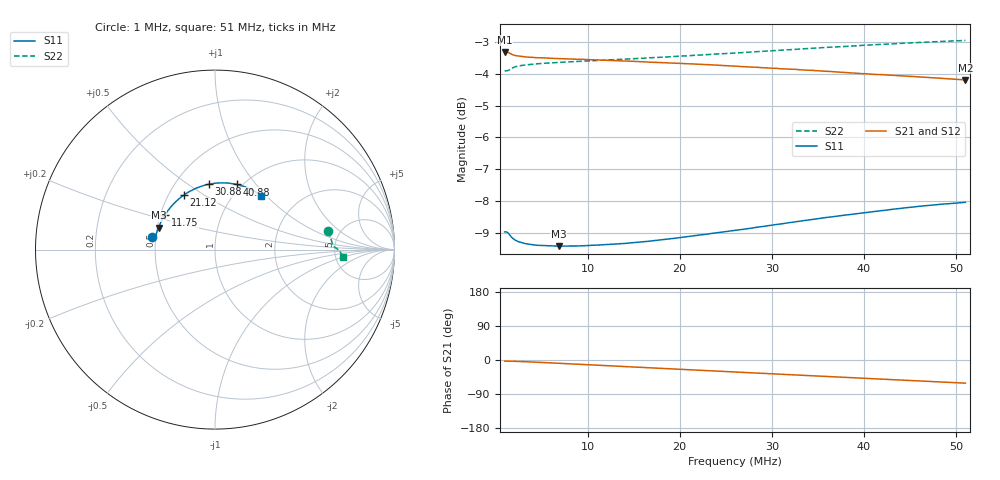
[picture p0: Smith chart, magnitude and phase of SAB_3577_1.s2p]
# MHz S RI R 50
! S-Parameters data
! Freq  reS11  imS11  reS21  imS21  reS12  imS12  reS22  imS22
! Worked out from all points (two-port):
!   401 points, 1 MHz to 51 MHz, reference 50 ohm
!   highest |S21| = -3.30 dB at 1 MHz (marker M1); lowest = -4.2 dB at 51 MHz (marker M2)
!   |S21| within 3 dB of the highest: start of sweep to end of sweep
!   lowest |S11| = -9.4 dB at 6.875 MHz (marker M3), VSWR 2.02, Z = 25.4 + j7.05 ohm
!   |S11| at or under -10 dB: nowhere
!   |S22| runs from -3.9 to -2.9 dB; largest |S21 - S12| = 0.0026
!   S11 on the Smith chart (normalised r, x): 1 MHz: 0.48, +0.07; 11.75 MHz: 0.53, +0.23; 21.12 MHz: 0.60, +0.41; 30.88 MHz: 0.72, +0.61; 40.88 MHz: 0.94, +0.80; 51 MHz: 1.32, +0.94
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1  -0.349 0.0682  0.683 -0.0358  0.6829 -0.0356  0.6302 0.1022
1.375  -0.3478 0.0672  0.6817 -0.036  0.6817 -0.0359  0.6318 0.0978
1.875  -0.3417 0.0632  0.6759 -0.0385  0.6759 -0.0384  0.6414 0.0729
2.25  -0.3386 0.0637  0.6733 -0.0416  0.6738 -0.0415  0.6457 0.0604
3.125  -0.3337 0.0709  0.6701 -0.0511  0.6699 -0.051  0.6505 0.0439
4.625  -0.3265 0.09  0.666 -0.0701  0.6658 -0.0701  0.6545 0.0312
6.875  -0.3144 0.1229  0.66 -0.1003  0.6599 -0.1005  0.658 0.023
9.375  -0.2979 0.1599  0.6522 -0.1344  0.6516 -0.1346  0.661 0.0186
11.75  -0.2786 0.1936  0.6425 -0.1664  0.6421 -0.1666  0.6636 0.0159
14.625  -0.251 0.2317  0.6288 -0.2042  0.628 -0.2043  0.6668 0.0135
17.75  -0.2162 0.269  0.6112 -0.2441  0.6101 -0.2441  0.6705 0.0112
21.125  -0.174 0.3037  0.5895 -0.2856  0.5881 -0.2852  0.6747 0.00859
23.5  -0.1418 0.3239  0.5725 -0.3131  0.5711 -0.3128  0.6782 0.00637
26  -0.1062 0.3415  0.5529 -0.3409  0.5516 -0.3404  0.6811 0.00409
28.5  -0.069 0.3553  0.5319 -0.3677  0.5302 -0.3668  0.6848 0.00113
30.875  -0.0328 0.3643  0.5107 -0.3915  0.509 -0.3906  0.6882 -0.00199
34.375  0.0212 0.3715  0.4783 -0.4248  0.4765 -0.4233  0.693 -0.00687
37.5  0.0695 0.3709  0.4469 -0.4515  0.4457 -0.4499  0.6971 -0.012
40.875  0.1207 0.3631  0.4115 -0.4781  0.4101 -0.476  0.7013 -0.0183
42.75  0.1483 0.3559  0.3914 -0.4918  0.3903 -0.4899  0.7034 -0.0222
46.5  0.201 0.3352  0.3503 -0.5162  0.3493 -0.5141  0.708 -0.0305
51  0.2585 0.3  0.2985 -0.5409  0.2979 -0.5385  0.7118 -0.0418
